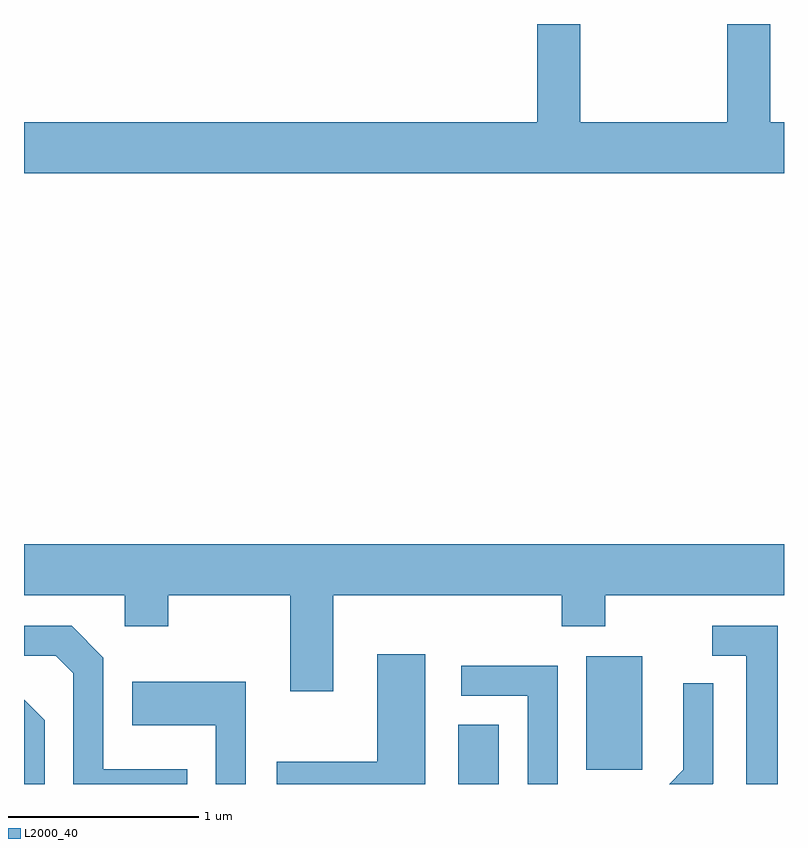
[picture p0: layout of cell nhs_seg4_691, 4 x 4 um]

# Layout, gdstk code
import gdstk
lib = gdstk.Library(unit=1e-6, precision=1e-09)
def R(c, l, rs):  # rectangles x0, y0, x1, y1
    for r in rs: c.add(gdstk.rectangle(r[:2], r[2:], *l))
def P(c, l, *ps):  # polygons
    for p in ps: c.add(gdstk.Polygon(p, *l))
L2000_40 = (2000, 40)

nhs_seg4_691 = lib.new_cell('nhs_seg4_691')
R(nhs_seg4_691, L2000_40, [(207.896,1275.982,208.109,1276.294), (208.571,1276.056,208.864,1276.654)])
P(nhs_seg4_691, L2000_40, [(209.611,1279.464),(209.539,1279.464),(209.539,1279.982),(209.311,1279.982),(209.311,1279.464),(208.539,1279.464),(208.539,1279.982),(208.311,1279.982),(208.311,1279.464),(205.611,1279.464),(205.611,1279.196),(209.611,1279.196)],
  [(207.239,1276.976),(208.441,1276.976),(208.441,1276.811),(208.669,1276.811),(208.669,1276.976),(209.611,1276.976),(209.611,1277.244),(205.611,1277.244),(205.611,1276.976),(206.141,1276.976),(206.141,1276.811),(206.369,1276.811),(206.369,1276.976),(207.011,1276.976),(207.011,1276.471),(207.239,1276.471)],
  [(209.579,1276.814),(209.233,1276.814),(209.233,1276.656),(209.411,1276.656),(209.411,1275.982),(209.579,1275.982)],
  [(206.469,1276.059),(206.029,1276.059),(206.029,1276.647),(205.862,1276.814),(205.611,1276.814),(205.611,1276.656),(205.779,1276.656),(205.871,1276.564),(205.871,1275.982),(206.469,1275.982)],
  [(207.724,1276.664),(207.471,1276.664),(207.471,1276.099),(206.941,1276.099),(206.941,1275.982),(207.724,1275.982)],
  [(208.419,1276.604),(207.913,1276.604),(207.913,1276.446),(208.261,1276.446),(208.261,1275.982),(208.419,1275.982)],
  [(206.779,1276.519),(206.181,1276.519),(206.181,1276.291),(206.621,1276.291),(206.621,1275.982),(206.779,1275.982)],
  [(209.239,1275.984),(209.239,1276.513),(209.081,1276.513),(209.081,1276.057),(209.006,1275.982),(209.237,1275.982)],
  [(205.719,1276.317),(205.611,1276.425),(205.611,1275.982),(205.719,1275.982)])

lib.write_gds('nhs_seg4_691.gds')
